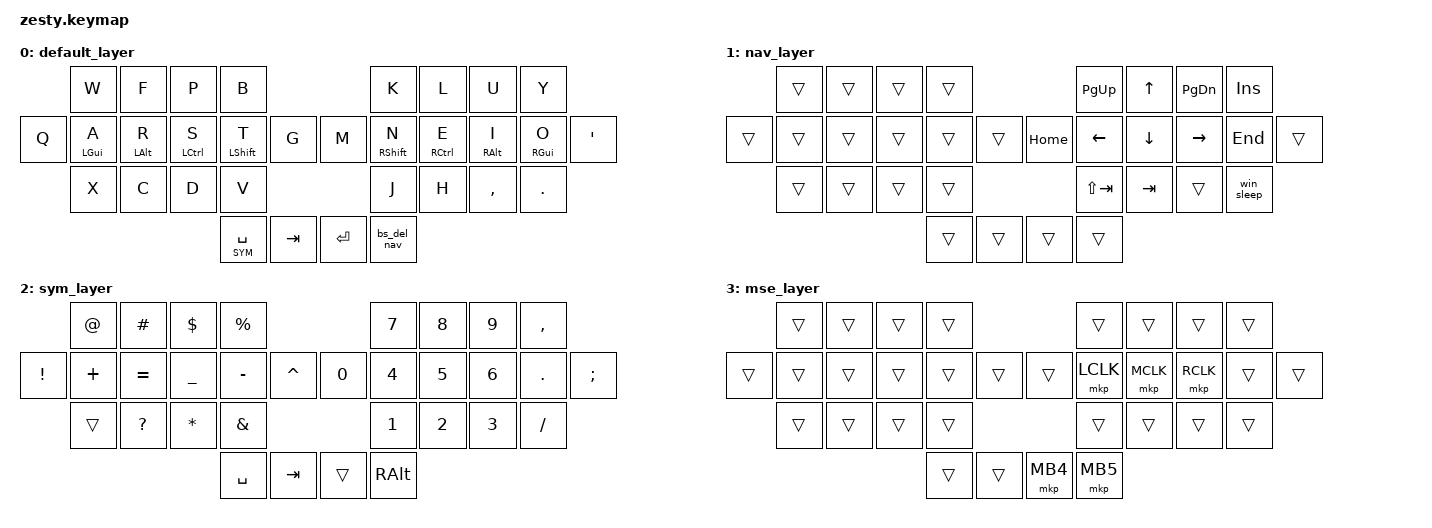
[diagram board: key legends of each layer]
#include <behaviors.dtsi>
#include <dt-bindings/zmk/keys.h>
#include <dt-bindings/zmk/mouse.h>

#include "helper.h"
#include "zesty32keys.h"

/* layer and key shortcuts */

#define ___ &trans

#define DEF 0  // layer shortcuts, must match order in which they are defined below
#define NAV 1
#define SYM 2
#define MSE 3

/* custom behaviors */

// homerow mods
ZMK_BEHAVIOR(hrm, hold_tap,
    flavor = "balanced";
    tapping-term-ms = <280>;
    quick-tap-ms = <125>;
    bindings = <&kp>, <&kp>;
)

// tap: sticky shift | double tap: capsword
ZMK_BEHAVIOR(ss_cw, tap_dance,
    tapping-term-ms = <200>;
    bindings = <&sk LSHFT>, <&caps_word>;
)

// tap: backspace | shift + tap: delete | hold: nav layer
ZMK_BEHAVIOR(bs_del_nav, mod_morph,
    bindings = <&lt NAV BSPC>, <&kp DEL>;
    mods = <(MOD_LSFT|MOD_RSFT)>;
) //this sucks

// windows sleep macro
ZMK_BEHAVIOR(win_sleep, macro,
    wait-ms = <100>;
    tap-ms = <5>;
    bindings = <&kp LG(X) &kp U &kp S>;
)

// when NAV and SYM are held jointly
//ZMK_CONDITIONAL_LAYER(NAV SYM, MSE)

// combos
#undef COMBO_TERM
#define COMBO_TERM 40  // timeout of 40ms (default is 30ms if omitted)
//ZMK_COMBO(combo_sleep,  &win_sleep, RT2 RT3, NAV)  // custom sleep macro, only active on NAV layer
ZMK_COMBO(combo_copy, &kp LC(C),  LB2 LB3, ALL)  // Ctrl + C, active on all layers
ZMK_COMBO(combo_paste, &kp LC(V),  LB1 LB2, ALL)  // Ctrl + V, active on all layers
ZMK_COMBO(combo_lpar, &kp LPAR, LM2 LM3, DEF) // ( , active on default layer
ZMK_COMBO(combo_rpar, &kp RPAR, RM2 RM3, DEF)
ZMK_COMBO(combo_quotes, &kp DQT, RT1 RT2, DEF)
ZMK_COMBO(combo_z, &kp Z, RB2 RB3, DEF)
ZMK_COMBO(combo_esc, &kp ESC, LB2 LB3, DEF)

/* keymap */

ZMK_LAYER(default_layer,
     //               ╭─────────────┬─────────────┬─────────────┬─────────────╮                             ╭─────────────┬─────────────┬─────────────┬─────────────╮
                        &kp W         &kp F         &kp P         &kp B                                       &kp K         &kp L         &kp U         &kp Y        
     // ╭─────────────┼─────────────┼─────────────┼─────────────┼─────────────┤─────────────╮ ╭─────────────├─────────────┼─────────────┼─────────────┼─────────────┼─────────────╮
          &kp Q         &hrm LGUI A   &hrm LALT R   &hrm LCTRL S  &hrm LSHFT T  &kp G           &kp M         &hrm RSHFT N  &hrm RCTRL E  &hrm RALT I   &hrm RGUI O   &kp APOS
     // ╰─────────────┼─────────────┼─────────────┼─────────────┼─────────────┤─────────────╯ ╰─────────────├─────────────┼─────────────┼─────────────┼─────────────┼─────────────╯
                        &kp X         &kp C         &kp D         &kp V                                       &kp J         &kp H         &kp COMMA     &kp DOT      
     //               ╰─────────────┼─────────────┼─────────────┼─────────────┤─────────────╮ ╭─────────────├─────────────┼─────────────┼─────────────┼─────────────╯
                                                                  &lt SYM SPACE &kp TAB         &kp RET       &bs_del_nav                    
     //                                                         ╰─────────────┴─────────────╯ ╰─────────────┴─────────────╯
)

ZMK_LAYER(nav_layer,
     //               ╭─────────────┬─────────────┬─────────────┬─────────────╮                             ╭─────────────┬─────────────┬─────────────┬─────────────╮
                        ___           ___           ___           ___                                         &kp PG_UP     &kp UP        &kp PG_DN   &kp INS        
     // ╭─────────────┼─────────────┼─────────────┼─────────────┼─────────────┤─────────────╮ ╭─────────────├─────────────┼─────────────┼─────────────┼─────────────┼─────────────╮
          ___           ___           ___           ___           ___           ___             &kp HOME      &kp LEFT      &kp DOWN      &kp RIGHT     &kp END       ___
     // ╰─────────────┼─────────────┼─────────────┼─────────────┼─────────────┤─────────────╯ ╰─────────────├─────────────┼─────────────┼─────────────┼─────────────┼─────────────╯
                        ___           ___           ___           ___                                         &kp LS(TAB)   &kp TAB       ___           &win_sleep      
     //               ╰─────────────┼─────────────┼─────────────┼─────────────┤─────────────╮ ╭─────────────├─────────────┼─────────────┼─────────────┼─────────────╯
                                                                  ___           ___             ___           ___                    
     //                                                         ╰─────────────┴─────────────╯ ╰─────────────┴─────────────╯
)

ZMK_LAYER(sym_layer,
     //               ╭─────────────┬─────────────┬─────────────┬─────────────╮                             ╭─────────────┬─────────────┬─────────────┬─────────────╮
                        &kp AT        &kp HASH      &kp DLLR      &kp PRCNT                                   &kp N7        &kp N8        &kp N9        &kp COMMA        
     // ╭─────────────┼─────────────┼─────────────┼─────────────┼─────────────┤─────────────╮ ╭─────────────├─────────────┼─────────────┼─────────────┼─────────────┼─────────────╮
          &kp EXCL      &kp PLUS      &kp EQUAL     &kp UNDER     &kp MINUS     &kp CARET       &kp N0        &kp N4        &kp N5        &kp N6        &kp DOT       &kp SEMI
     // ╰─────────────┼─────────────┼─────────────┼─────────────┼─────────────┤─────────────╯ ╰─────────────├─────────────┼─────────────┼─────────────┼─────────────┼─────────────╯
                        ___           &kp QMARK     &kp STAR      &kp AMPS                                    &kp N1        &kp N2        &kp N3        &kp FSLH      
     //               ╰─────────────┼─────────────┼─────────────┼─────────────┤─────────────╮ ╭─────────────├─────────────┼─────────────┼─────────────┼─────────────╯
                                                                  &kp SPACE     &kp TAB         ___           &kp RALT                    
     //                                                         ╰─────────────┴─────────────╯ ╰─────────────┴─────────────╯
)

ZMK_LAYER(mse_layer,
     //               ╭─────────────┬─────────────┬─────────────┬─────────────╮                             ╭─────────────┬─────────────┬─────────────┬─────────────╮
                        ___           ___           ___           ___                                         ___           ___           ___           ___        
     // ╭─────────────┼─────────────┼─────────────┼─────────────┼─────────────┤─────────────╮ ╭─────────────├─────────────┼─────────────┼─────────────┼─────────────┼─────────────╮
          ___           ___           ___           ___           ___           ___             ___           &mkp LCLK     &mkp MCLK     &mkp RCLK     ___           ___
     // ╰─────────────┼─────────────┼─────────────┼─────────────┼─────────────┤─────────────╯ ╰─────────────├─────────────┼─────────────┼─────────────┼─────────────┼─────────────╯
                        ___           ___           ___           ___                                         ___           ___           ___           ___      
     //               ╰─────────────┼─────────────┼─────────────┼─────────────┤─────────────╮ ╭─────────────├─────────────┼─────────────┼─────────────┼─────────────╯
                                                                  ___           ___             &mkp MB4      &mkp MB5                    
     //                                                         ╰─────────────┴─────────────╯ ╰─────────────┴─────────────╯
)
